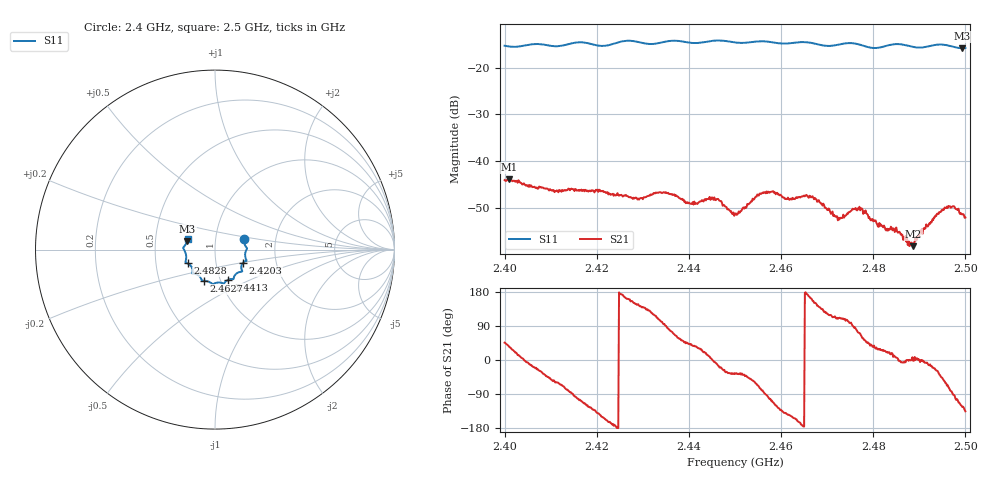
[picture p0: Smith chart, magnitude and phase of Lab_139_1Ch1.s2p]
# Hz S RI R 50
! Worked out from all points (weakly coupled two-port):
!   601 points, 2.4 GHz to 2.5 GHz, reference 50 ohm
!   highest |S21| = -43.86 dB at 2.401 GHz (marker M1); lowest = -58.2 dB at 2.4887 GHz (marker M2)
!   lowest |S11| = -15.8 dB at 2.4993 GHz (marker M3), VSWR 1.38, Z = 36.5 + j3.6 ohm
!   |S11| at or under -10 dB: start of sweep to end of sweep
!   S12 and S22 are empty: the file has one direction only
!   S11 on the Smith chart (normalised r, x): 2.4 GHz: 1.37, +0.17; 2.4203 GHz: 1.35, -0.20; 2.4413 GHz: 1.09, -0.38; 2.4627 GHz: 0.83, -0.30; 2.4828 GHz: 0.73, -0.11; 2.5 GHz: 0.73, +0.09
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2.4e9  0.1614 0.0585  0.00438 0.0045  0 0  0 0
2.401e9  0.1618 0.0477  0.00529 0.00362  0 0  0 0
2.411167e9  0.1682 -0.0212  0.00251 -0.00406  0 0  0 0
2.416667e9  0.1763 -0.0622  -0.00156 -0.00471  0 0  0 0
2.420333e9  0.1562 -0.0731  -0.00365 -0.00296  0 0  0 0
2.429167e9  0.1409 -0.1235  -0.00313 0.00229  0 0  0 0
2.433333e9  0.1075 -0.148  -0.00145 0.00435  0 0  0 0
2.441333e9  0.0751 -0.1673  0.00282 0.00204  0 0  0 0
2.446e9  0.0495 -0.189  0.00388 -0.000645  0 0  0 0
2.45e9  0.0302 -0.1839  0.00218 -0.00165  0 0  0 0
2.455833e9  -0.0116 -0.1913  0.000762 -0.00447  0 0  0 0
2.462667e9  -0.0616 -0.1741  -0.00351 -0.00179  0 0  0 0
2.466667e9  -0.0744 -0.1682  -0.00393 0.00137  0 0  0 0
2.472167e9  -0.1117 -0.1349  -0.000932 0.00239  0 0  0 0
2.477167e9  -0.1249 -0.1241  0.00106 0.00279  0 0  0 0
2.482833e9  -0.1531 -0.0766  0.0017 0.000632  0 0  0 0
2.483333e9  -0.1568 -0.075  0.00177 0.000659  0 0  0 0
2.488667e9  -0.1605 -0.0462  0.00123 -4.65e-05  0 0  0 0
2.4955e9  -0.1749 0.0137  0.00177 -0.00266  0 0  0 0
2.497167e9  -0.1669 0.024  0.000167 -0.00326  0 0  0 0
2.499333e9  -0.1541 0.0481  -0.0015 -0.00224  0 0  0 0
2.5e9  -0.152 0.0573  -0.00178 -0.00175  0 0  0 0
